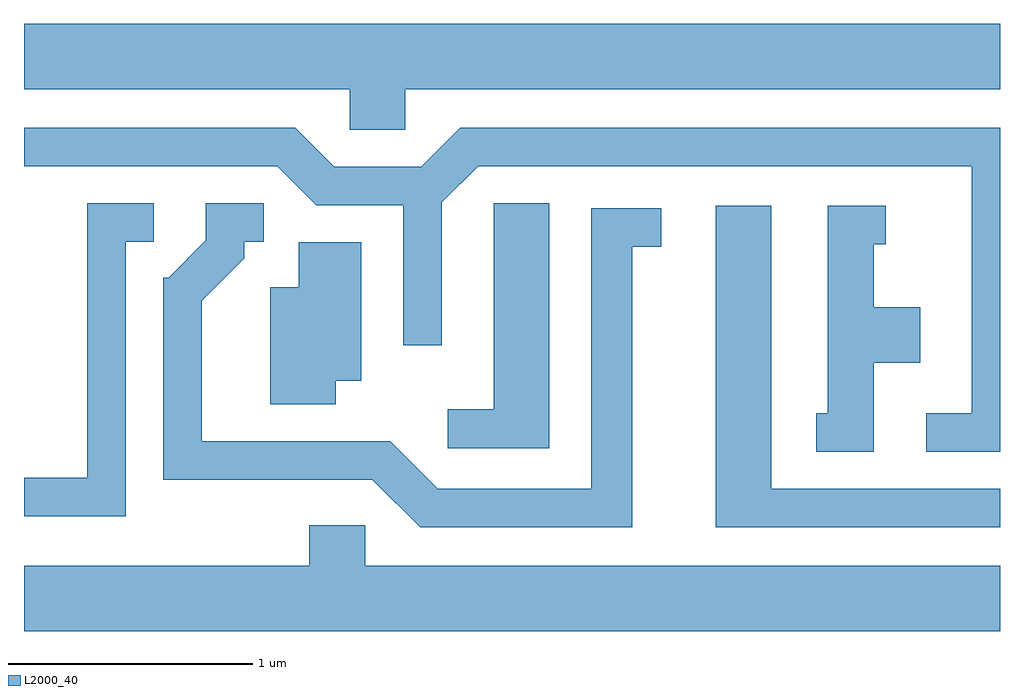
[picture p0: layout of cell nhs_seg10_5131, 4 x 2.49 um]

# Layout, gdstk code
import gdstk
lib = gdstk.Library(unit=1e-6, precision=1e-09)
def P(c, l, *ps):  # polygons
    for p in ps: c.add(gdstk.Polygon(p, *l))
L2000_40 = (2000, 40)

nhs_seg10_5131 = lib.new_cell('nhs_seg10_5131')
P(nhs_seg10_5131, L2000_40, [(337.174,2191.616),(339.611,2191.616),(339.611,2191.884),(335.611,2191.884),(335.611,2191.616),(336.946,2191.616),(336.946,2191.451),(337.174,2191.451)],
  [(339.611,2191.459),(337.399,2191.459),(337.239,2191.299),(336.882,2191.299),(336.722,2191.459),(335.611,2191.459),(335.611,2191.301),(336.649,2191.301),(336.809,2191.141),(337.166,2191.141),(337.166,2190.568),(337.324,2190.568),(337.324,2191.154),(337.472,2191.301),(339.496,2191.301),(339.496,2190.289),(339.308,2190.289),(339.308,2190.131),(339.611,2190.131)],
  [(338.104,2190.971),(338.223,2190.971),(338.223,2191.129),(337.936,2191.129),(337.936,2189.979),(337.307,2189.979),(337.112,2190.174),(336.339,2190.174),(336.339,2190.749),(336.514,2190.924),(336.514,2190.991),(336.593,2190.991),(336.593,2191.149),(336.356,2191.149),(336.356,2190.997),(336.204,2190.844),(336.181,2190.844),(336.181,2190.016),(337.039,2190.016),(337.234,2189.821),(338.104,2189.821)],
  [(337.764,2191.149),(337.536,2191.149),(337.536,2190.304),(337.348,2190.304),(337.348,2190.146),(337.764,2190.146)],
  [(336.029,2190.991),(336.143,2190.991),(336.143,2191.149),(335.871,2191.149),(335.871,2190.024),(335.611,2190.024),(335.611,2189.866),(336.029,2189.866)],
  [(339.611,2189.979),(338.674,2189.979),(338.674,2191.139),(338.446,2191.139),(338.446,2189.821),(339.611,2189.821)],
  [(339.094,2190.496),(339.284,2190.496),(339.284,2190.724),(339.094,2190.724),(339.094,2190.981),(339.143,2190.981),(339.143,2191.139),(338.906,2191.139),(338.906,2190.289),(338.858,2190.289),(338.858,2190.131),(339.094,2190.131)],
  [(336.889,2190.421),(336.994,2190.421),(336.994,2190.989),(336.736,2190.989),(336.736,2190.804),(336.621,2190.804),(336.621,2190.326),(336.889,2190.326)],
  [(339.611,2189.664),(337.009,2189.664),(337.009,2189.829),(336.781,2189.829),(336.781,2189.664),(335.611,2189.664),(335.611,2189.396),(339.611,2189.396)])

lib.write_gds('nhs_seg10_5131.gds')
